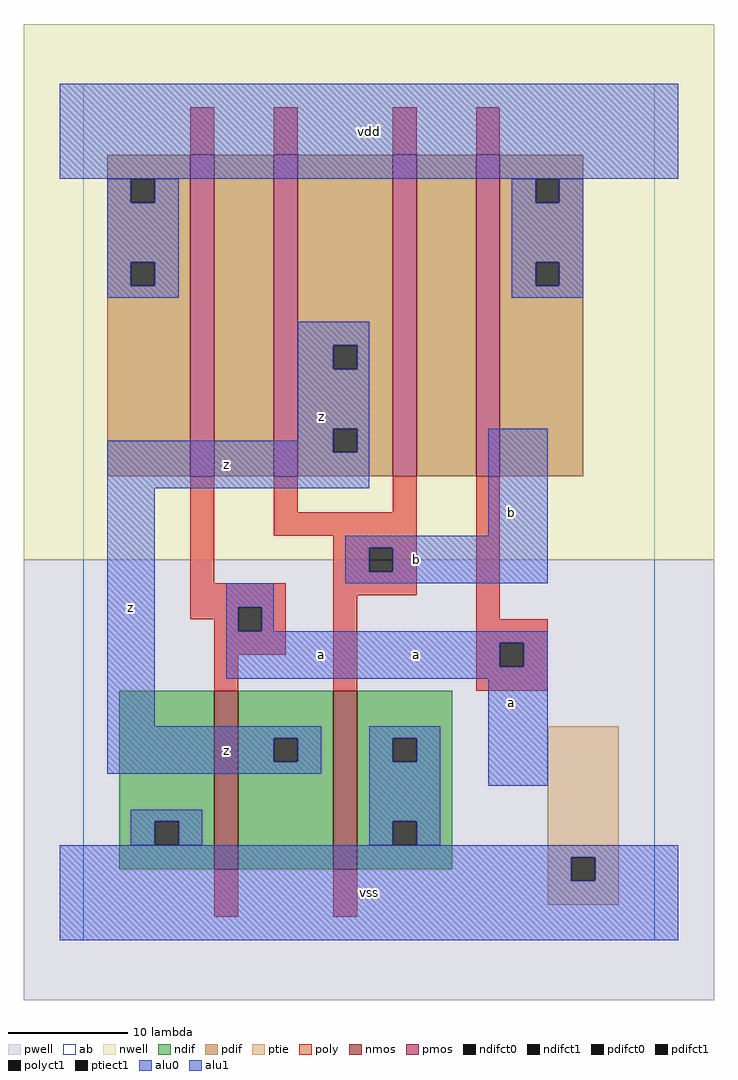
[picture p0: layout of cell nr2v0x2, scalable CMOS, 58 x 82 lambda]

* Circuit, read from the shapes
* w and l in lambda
.subckt nr2v0x2 a b vdd vss z
M1 z a vss vss nfet w=15 l=2
M2 vss b z vss nfet w=15 l=2
M3 n1 a vdd n2 pfet w=27 l=2
M4 z b n1 n2 pfet w=27 l=2
M5 n3 b z n2 pfet w=27 l=2
M6 vdd a n3 n2 pfet w=27 l=2
.ends

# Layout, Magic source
magic
tech scmos
<< ab >>
rect 0 0 48 72
<< nwell >>
rect -5 32 53 77
<< pwell >>
rect -5 -5 53 32
<< poly >>
rect 9 66 11 70
rect 16 66 18 70
rect 26 66 28 70
rect 33 66 35 70
rect 9 30 11 39
rect 16 36 18 39
rect 26 36 28 39
rect 16 34 28 36
rect 21 33 28 34
rect 21 31 24 33
rect 26 31 28 33
rect 9 28 17 30
rect 9 27 13 28
rect 11 26 13 27
rect 15 26 17 28
rect 11 24 17 26
rect 21 29 28 31
rect 11 21 13 24
rect 21 21 23 29
rect 33 27 35 39
rect 33 25 39 27
rect 33 23 35 25
rect 37 23 39 25
rect 33 21 39 23
rect 11 2 13 6
rect 21 2 23 6
<< ndif >>
rect 3 10 11 21
rect 3 8 6 10
rect 8 8 11 10
rect 3 6 11 8
rect 13 17 21 21
rect 13 15 16 17
rect 18 15 21 17
rect 13 6 21 15
rect 23 17 31 21
rect 23 15 26 17
rect 28 15 31 17
rect 23 10 31 15
rect 23 8 26 10
rect 28 8 31 10
rect 23 6 31 8
<< pdif >>
rect 2 64 9 66
rect 2 62 4 64
rect 6 62 9 64
rect 2 57 9 62
rect 2 55 4 57
rect 6 55 9 57
rect 2 39 9 55
rect 11 39 16 66
rect 18 50 26 66
rect 18 48 21 50
rect 23 48 26 50
rect 18 43 26 48
rect 18 41 21 43
rect 23 41 26 43
rect 18 39 26 41
rect 28 39 33 66
rect 35 64 42 66
rect 35 62 38 64
rect 40 62 42 64
rect 35 57 42 62
rect 35 55 38 57
rect 40 55 42 57
rect 35 39 42 55
<< alu1 >>
rect -2 64 50 72
rect 18 50 24 52
rect 18 48 21 50
rect 23 48 24 50
rect 18 43 24 48
rect 18 42 21 43
rect 2 41 21 42
rect 23 41 24 43
rect 2 38 24 41
rect 2 18 6 38
rect 34 34 39 43
rect 22 33 39 34
rect 22 31 24 33
rect 26 31 39 33
rect 22 30 39 31
rect 12 28 16 30
rect 12 26 13 28
rect 15 26 16 28
rect 12 25 39 26
rect 12 23 35 25
rect 37 23 39 25
rect 12 22 39 23
rect 2 17 20 18
rect 2 15 16 17
rect 18 15 20 17
rect 2 14 20 15
rect 34 13 39 22
rect -2 7 50 8
rect -2 5 41 7
rect 43 5 50 7
rect -2 0 50 5
<< ptie >>
rect 39 7 45 18
rect 39 5 41 7
rect 43 5 45 7
rect 39 3 45 5
<< nmos >>
rect 11 6 13 21
rect 21 6 23 21
<< pmos >>
rect 9 39 11 66
rect 16 39 18 66
rect 26 39 28 66
rect 33 39 35 66
<< polyct1 >>
rect 24 31 26 33
rect 13 26 15 28
rect 35 23 37 25
<< ndifct0 >>
rect 6 8 8 10
rect 26 15 28 17
rect 26 8 28 10
<< ndifct1 >>
rect 16 15 18 17
<< ptiect1 >>
rect 41 5 43 7
<< pdifct0 >>
rect 4 62 6 64
rect 4 55 6 57
rect 38 62 40 64
rect 38 55 40 57
<< pdifct1 >>
rect 21 48 23 50
rect 21 41 23 43
<< alu0 >>
rect 2 62 4 64
rect 6 62 8 64
rect 2 57 8 62
rect 2 55 4 57
rect 6 55 8 57
rect 2 54 8 55
rect 36 62 38 64
rect 40 62 42 64
rect 36 57 42 62
rect 36 55 38 57
rect 40 55 42 57
rect 36 54 42 55
rect 24 17 30 18
rect 24 15 26 17
rect 28 15 30 17
rect 4 10 10 11
rect 4 8 6 10
rect 8 8 10 10
rect 24 10 30 15
rect 24 8 26 10
rect 28 8 30 10
<< labels >>
rlabel alu1 4 28 4 28 6 z
rlabel alu1 12 16 12 16 6 z
rlabel alu1 20 24 20 24 6 a
rlabel alu1 12 40 12 40 6 z
rlabel alu1 20 44 20 44 6 z
rlabel alu1 24 4 24 4 6 vss
rlabel alu1 28 24 28 24 6 a
rlabel alu1 28 32 28 32 6 b
rlabel alu1 24 68 24 68 6 vdd
rlabel alu1 36 20 36 20 6 a
rlabel alu1 36 36 36 36 6 b
<< end >>
